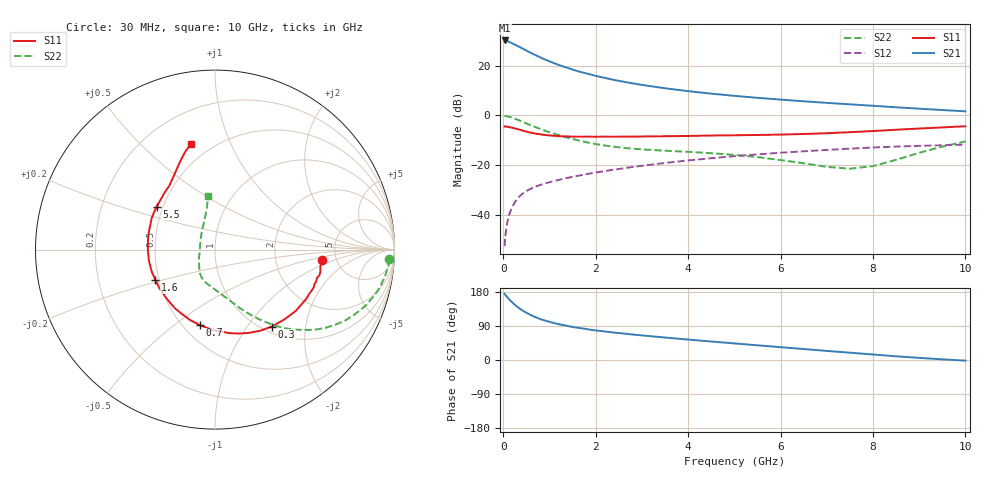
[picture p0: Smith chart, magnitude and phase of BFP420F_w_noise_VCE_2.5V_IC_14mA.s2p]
! Infineon Technologies  Discrete & RF Semiconductors
! BFP420F
! VCE =  2.5 V,  IC =  14 mA
! Common Emitter S-Parameters:  Sep 2011
# GHz  S  MA  R  50
!  f  S11  S21  S12  S22
! GHz  MAG  ANG  MAG  ANG  MAG  ANG  MAG  ANG
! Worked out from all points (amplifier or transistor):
!   54 points, 30 MHz to 10 GHz, reference 50 ohm
!   highest |S21| = 30.3 dB at 30 MHz (marker M1)
!   |S21| within 3 dB of that: start of sweep to 390.3 MHz
!   unconditionally stable (mu >= 1): 1.879 GHz to end of sweep
!   at 120 MHz: K = 0.20, MSG = 35.2 dB, |S12| = -40.7 dB
!   at 1.3 GHz: K = 0.83, MSG = 22.7 dB, |S12| = -25.6 dB
!   at 10 GHz: K = 1.26, MAG = 3.7 dB, |S12| = -11.8 dB
!   lowest NFmin = 1.34 dB at 450 MHz
!   S11 on the Smith chart (normalised r, x): 30 MHz: 3.84, -0.71; 300 MHz: 1.10, -1.32; 700 MHz: 0.60, -0.62; 1.6 GHz: 0.48, -0.19; 5.5 GHz: 0.46, +0.26; 10 GHz: 0.39, +0.72
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0.03  0.5988 -5.7  32.62 174.3  0.0023 90.4  0.9704 -3.1
0.07  0.5986 -13.9  32.01 168.6  0.0054 83.8  0.9629 -7.6
0.1  0.5867 -19.3  31.38 163.9  0.0076 82.1  0.9511 -10.7
0.15  0.5772 -28.6  29.84 157.2  0.0112 79.1  0.9256 -15.8
0.25  0.5479 -45.4  26.92 145.8  0.0175 73.2  0.8601 -24.6
0.3  0.5331 -53.5  25.63 140.8  0.0206 70.5  0.8277 -28.4
0.4  0.501 -67.8  22.84 132.0  0.0255 66.4  0.7573 -35.0
0.5  0.4725 -80.2  20.41 124.7  0.0298 63.4  0.691 -40.4
0.6  0.4486 -91.4  18.25 118.4  0.0333 61.1  0.631 -45.0
0.7  0.4298 -101.1  16.48 112.9  0.0367 59.7  0.5807 -48.8
0.8  0.4158 -109.7  14.89 108.1  0.0395 58.7  0.5342 -52.1
0.9  0.4032 -117.2  13.5 104.3  0.0423 57.9  0.4939 -54.9
1.1  0.388 -130.0  11.38 97.5  0.0476 57.1  0.4276 -60.1
1.3  0.3783 -140.4  9.71 92.1  0.0527 56.8  0.3773 -64.6
1.6  0.3729 -153.0  7.883 85.2  0.0602 56.5  0.3184 -70.8
1.7  0.3718 -156.2  7.439 83.5  0.0627 56.5  0.3019 -72.8
2.4  0.372 -174.4  5.197 72.3  0.0807 55.5  0.2337 -86.6
3.5  0.3808 166.8  3.537 59.3  0.1098 52.5  0.1941 -103.6
5.5  0.4036 143.6  2.27 38.8  0.1637 42.6  0.1445 -127.1
7  0.4374 125.6  1.795 24.0  0.2014 33.6  0.0918 -161.8
8.5  0.5147 113.1  1.463 9.8  0.2352 23.3  0.1273 124.9
10  0.6053 102.6  1.213 -1.7  0.2583 14.3  0.2994 97.3
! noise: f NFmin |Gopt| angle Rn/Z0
0.45  1.34  0.08  173  0.11
0.9  1.34  0.09  161  0.13
1.9  1.47  0.19  177  0.19
2.4  1.53  0.19  -180  0.12
3.5  1.78  0.24  -164  0.17
